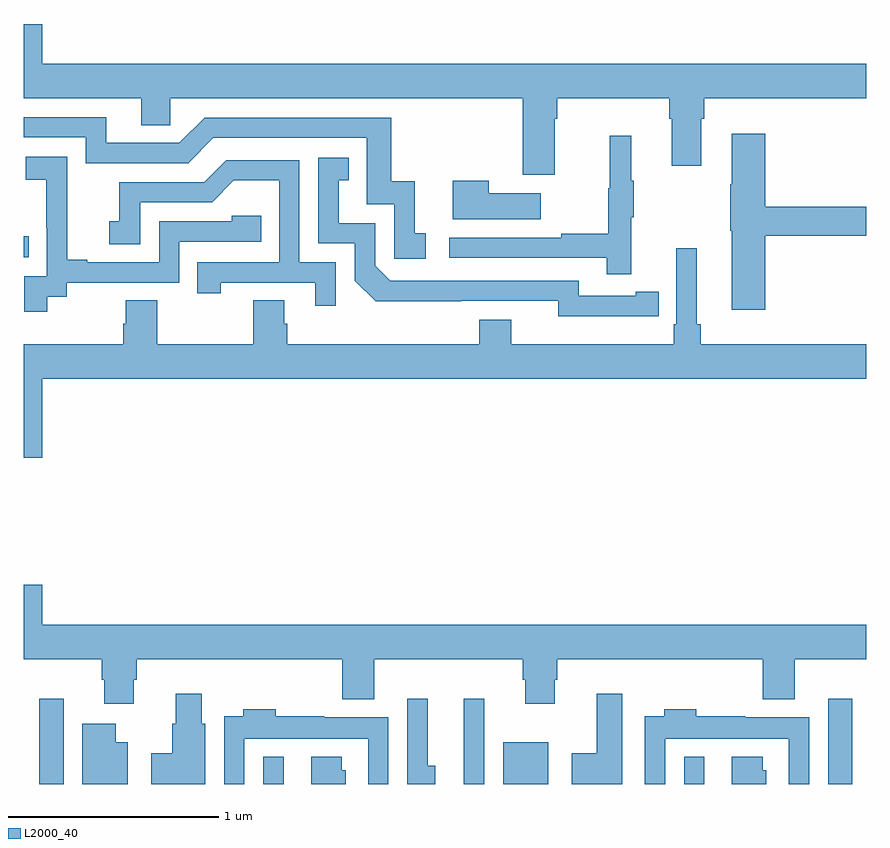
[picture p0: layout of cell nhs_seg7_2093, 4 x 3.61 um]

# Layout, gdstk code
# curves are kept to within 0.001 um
import gdstk
lib = gdstk.Library(unit=1e-6, precision=1e-09)
def R(c, l, rs):  # rectangles x0, y0, x1, y1
    for r in rs: c.add(gdstk.rectangle(r[:2], r[2:], *l))
def P(c, l, *ps):  # polygons
    for p in ps: c.add(gdstk.Polygon(p, *l))
L2000_40 = (2000, 40)

nhs_seg7_2093 = lib.new_cell('nhs_seg7_2093')
R(nhs_seg7_2093, L2000_40, [(249.073,1024,249.189,1024.405), (250.137,1024,250.234,1024.129), (251.09,1024,251.187,1024.405), (251.276,1024,251.491,1024.198), (252.135,1024,252.232,1024.129), (252.819,1024,252.935,1024.405), (249,1026.501,249.023,1026.602)])
P(nhs_seg7_2093, L2000_40, [(251.521,1027.16),(251.534,1027.16),(251.534,1027.256),(252.065,1027.256),(252.065,1027.16),(252.077,1027.16),(252.077,1026.936),(252.217,1026.936),(252.217,1027.16),(252.23,1027.16),(252.23,1027.256),(253,1027.256),(253,1027.42),(249.088,1027.42),(249.088,1027.609),(249,1027.609),(249,1027.256),(249.557,1027.256),(249.557,1027.129),(249.696,1027.129),(249.696,1027.256),(251.369,1027.256),(251.369,1026.894),(251.521,1026.894)],
  [(250.909,1026.615),(250.856,1026.615),(250.856,1026.862),(250.745,1026.862),(250.745,1027.164),(249.858,1027.164),(249.738,1027.044),(249.391,1027.044),(249.391,1027.167),(249,1027.167),(249,1027.071),(249.294,1027.071),(249.294,1026.948),(249.78,1026.948),(249.9,1027.068),(250.629,1027.068),(250.629,1026.753),(250.758,1026.753),(250.758,1026.495),(250.909,1026.495)],
  [(252.521,1026.604),(253,1026.604),(253,1026.74),(252.521,1026.74),(252.521,1027.087),(252.362,1027.087),(252.362,1026.848),(252.355,1026.848),(252.355,1026.627),(252.362,1026.627),(252.362,1026.252),(252.521,1026.252)],
  [(251.885,1026.691),(251.896,1026.691),(251.896,1026.865),(251.885,1026.865),(251.885,1027.078),(251.782,1027.078),(251.782,1026.828),(251.775,1026.828),(251.775,1026.614),(251.551,1026.614),(251.551,1026.594),(251.019,1026.594),(251.019,1026.498),(251.767,1026.498),(251.767,1026.42),(251.885,1026.42)],
  [(249.112,1026.313),(249.204,1026.313),(249.204,1026.381),(249.738,1026.381),(249.738,1026.576),(250.127,1026.576),(250.127,1026.699),(249.987,1026.699),(249.987,1026.672),(249.642,1026.672),(249.642,1026.477),(249.301,1026.477),(249.301,1026.49),(249.206,1026.49),(249.206,1026.773),(249.207,1026.773),(249.207,1026.979),(249.009,1026.979),(249.009,1026.869),(249.107,1026.869),(249.107,1026.641),(249.108,1026.641),(249.108,1026.411),(249.003,1026.411),(249.003,1026.243),(249.112,1026.243)],
  [(251.906,1026.222),(252.014,1026.222),(252.014,1026.338),(251.906,1026.338),(251.906,1026.318),(251.634,1026.318),(251.634,1026.39),(250.74,1026.39),(250.668,1026.462),(250.668,1026.663),(250.495,1026.663),(250.495,1026.867),(250.544,1026.867),(250.544,1026.973),(250.398,1026.973),(250.398,1026.567),(250.572,1026.567),(250.572,1026.39),(250.67,1026.293),(251.538,1026.294),(251.538,1026.221)],
  [(250.482,1026.477),(250.308,1026.477),(250.308,1026.963),(249.962,1026.963),(249.857,1026.858),(249.454,1026.858),(249.454,1026.673),(249.405,1026.673),(249.405,1026.564),(249.552,1026.564),(249.552,1026.762),(249.894,1026.762),(249.998,1026.866),(250.212,1026.866),(250.212,1026.477),(249.823,1026.477),(249.823,1026.33),(249.934,1026.33),(249.934,1026.381),(250.385,1026.381),(250.385,1026.27),(250.482,1026.27)],
  [(251.455,1026.805),(251.207,1026.805),(251.207,1026.865),(251.036,1026.865),(251.036,1026.683),(251.455,1026.683)],
  [(249.088,1025.924),(253,1025.924),(253,1026.088),(252.215,1026.088),(252.215,1026.184),(252.196,1026.184),(252.196,1026.544),(252.099,1026.544),(252.099,1026.184),(252.086,1026.184),(252.086,1026.088),(251.314,1026.088),(251.314,1026.205),(251.162,1026.205),(251.162,1026.088),(250.25,1026.088),(250.25,1026.186),(250.237,1026.186),(250.237,1026.296),(250.09,1026.296),(250.09,1026.088),(249.633,1026.088),(249.633,1026.296),(249.485,1026.296),(249.485,1026.186),(249.473,1026.186),(249.473,1026.088),(249,1026.088),(249,1025.55),(249.088,1025.55)],
  [(249.523,1024.494),(249.536,1024.494),(249.536,1024.592),(250.511,1024.592),(250.511,1024.403),(250.663,1024.403),(250.663,1024.592),(251.369,1024.592),(251.369,1024.494),(251.381,1024.494),(251.381,1024.38),(251.521,1024.38),(251.521,1024.494),(251.534,1024.494),(251.534,1024.592),(252.509,1024.592),(252.509,1024.403),(252.661,1024.403),(252.661,1024.592),(253,1024.592),(253,1024.756),(249.088,1024.756),(249.088,1024.945),(249,1024.945),(249,1024.592),(249.371,1024.592),(249.371,1024.494),(249.383,1024.494),(249.383,1024.38),(249.523,1024.38)],
  [(249.862,1024.287),(249.844,1024.287),(249.844,1024.429),(249.722,1024.429),(249.722,1024.287),(249.704,1024.287),(249.704,1024.146),(249.605,1024.146),(249.605,1024),(249.862,1024)],
  [(251.842,1024.429),(251.72,1024.429),(251.72,1024.146),(251.603,1024.146),(251.603,1024),(251.842,1024)],
  [(250.954,1024.087),(250.918,1024.087),(250.918,1024.405),(250.821,1024.405),(250.821,1024),(250.954,1024)],
  [(250.047,1024.214),(250.635,1024.214),(250.635,1024),(250.731,1024),(250.731,1024.318),(250.427,1024.318),(250.427,1024.321),(250.196,1024.321),(250.196,1024.354),(250.043,1024.354),(250.043,1024.321),(249.951,1024.321),(249.951,1024),(250.047,1024)],
  [(252.045,1024.214),(252.633,1024.214),(252.633,1024),(252.729,1024),(252.729,1024.318),(252.425,1024.318),(252.425,1024.321),(252.194,1024.321),(252.194,1024.354),(252.041,1024.354),(252.041,1024.321),(251.949,1024.321),(251.949,1024),(252.045,1024)],
  [(249.493,1024.198),(249.436,1024.198),(249.436,1024.285),(249.278,1024.285),(249.278,1024),(249.493,1024)],
  [(252.526,1024.065),(252.508,1024.065),(252.508,1024.129),(252.362,1024.129),(252.362,1024),(252.526,1024)],
  [(250.528,1024.065),(250.51,1024.065),(250.51,1024.129),(250.364,1024.129),(250.364,1024),(250.528,1024)])

lib.write_gds('nhs_seg7_2093.gds')
